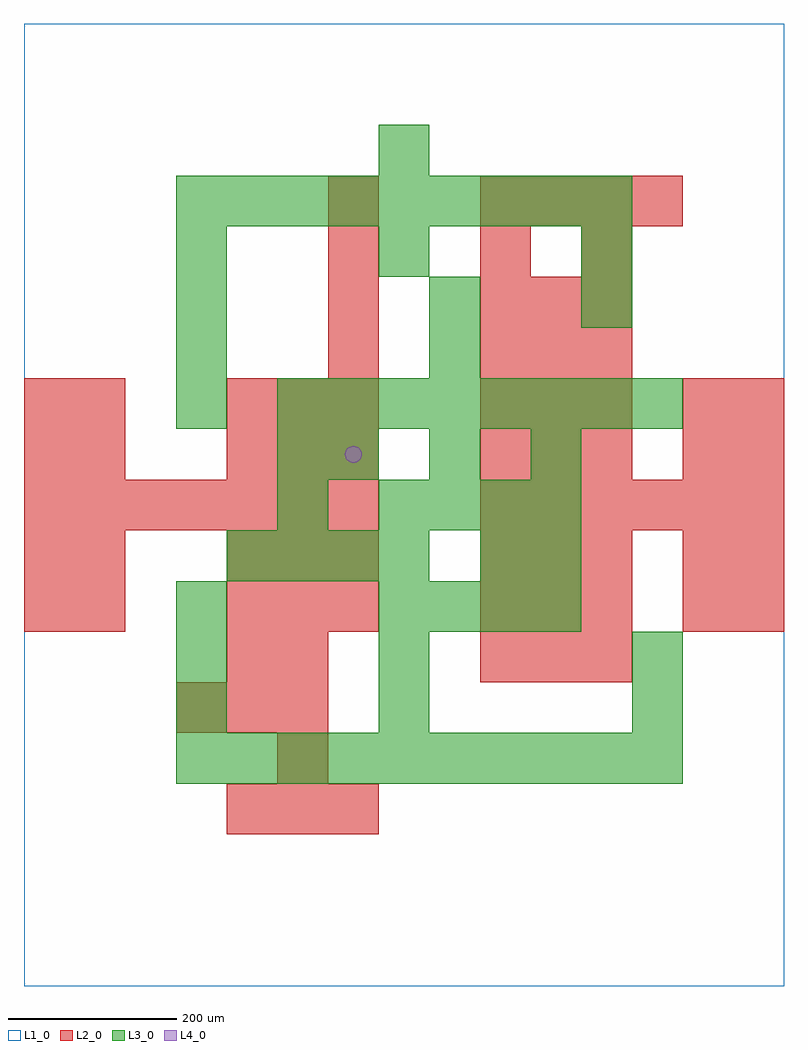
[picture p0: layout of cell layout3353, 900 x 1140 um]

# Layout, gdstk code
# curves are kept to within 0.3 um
import gdstk
lib = gdstk.Library(unit=1e-6, precision=1e-09)
def R(c, l, rs):  # rectangles x0, y0, x1, y1
    for r in rs: c.add(gdstk.rectangle(r[:2], r[2:], *l))
def A(c, l, x, y, w, h, nx, ny, dx, dy):  # array of equal rectangles
    R(c, l, [(x+i*dx, y+j*dy, x+i*dx+w, y+j*dy+h) for i in range(nx) for j in range(ny)])
def P(c, l, *ps):  # polygons
    for p in ps: c.add(gdstk.Polygon(p, *l))
L1_0 = (1, 0)
L2_0 = (2, 0)
L3_0 = (3, 0)
L4_0 = (4, 0)

layout3353 = lib.new_cell('layout3353')
R(layout3353, L1_0, [(0,0,900,1140)])
A(layout3353, L2_0, 240, 180, 60, 60, 3, 2, 60, 240)
A(layout3353, L2_0, 180, 300, 60, 60, 3, 1, 60, 0)
A(layout3353, L2_0, 540, 360, 60, 60, 3, 3, 60, 60)
A(layout3353, L2_0, 240, 480, 60, 60, 3, 2, 60, 120)
A(layout3353, L2_0, 0, 540, 60, 60, 7, 1, 60, 0)
A(layout3353, L2_0, 540, 540, 60, 60, 6, 1, 60, 0)
A(layout3353, L2_0, 540, 600, 60, 60, 3, 4, 60, 60)
A(layout3353, L2_0, 240, 660, 60, 60, 3, 1, 60, 0)
A(layout3353, L2_0, 360, 720, 60, 60, 1, 4, 0, 60)
A(layout3353, L2_0, 540, 900, 60, 60, 4, 1, 60, 0)
R(layout3353, L2_0, [(300,240,360,300), (240,360,300,420), (300,360,360,420), (0,420,60,480), (60,420,120,480), (780,420,840,480), (840,420,900,480), (0,480,60,540), (60,480,120,540), (780,480,840,540), (840,480,900,540), (0,600,60,660), (60,600,120,660), (780,600,840,660), (840,600,900,660), (0,660,60,720), (60,660,120,720), (780,660,840,720), (840,660,900,720), (540,840,600,900), (660,840,720,900)])
A(layout3353, L3_0, 180, 240, 60, 60, 10, 1, 60, 0)
A(layout3353, L3_0, 180, 300, 60, 60, 1, 3, 0, 60)
A(layout3353, L3_0, 420, 420, 60, 60, 4, 2, 60, 120)
A(layout3353, L3_0, 240, 480, 60, 60, 4, 1, 60, 0)
A(layout3353, L3_0, 360, 600, 60, 60, 3, 1, 120, 0)
A(layout3353, L3_0, 180, 660, 60, 60, 1, 3, 0, 60)
A(layout3353, L3_0, 300, 660, 60, 60, 8, 1, 60, 0)
A(layout3353, L3_0, 180, 840, 60, 60, 3, 1, 240, 0)
A(layout3353, L3_0, 180, 900, 60, 60, 9, 1, 60, 0)
R(layout3353, L3_0, [(420,300,480,360), (720,300,780,360), (420,360,480,420), (720,360,780,420), (540,480,600,540), (600,480,660,540), (300,540,360,600), (300,600,360,660), (480,720,540,780), (480,780,540,840), (660,780,720,840), (420,960,480,1020)])
P(layout3353, L4_0, [(400,630),(399.239,633.827),(397.071,637.071),(393.827,639.239),(390,640),(386.173,639.239),(382.929,637.071),(380.761,633.827),(380,630),(380.761,626.173),(382.929,622.929),(386.173,620.761),(390,620),(393.827,620.761),(397.071,622.929),(399.239,626.173)])

lib.write_gds('layout3353.gds')
